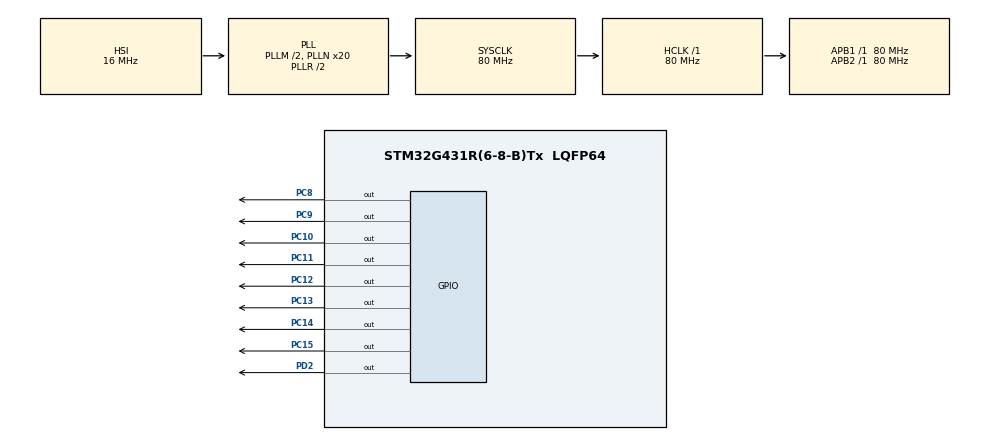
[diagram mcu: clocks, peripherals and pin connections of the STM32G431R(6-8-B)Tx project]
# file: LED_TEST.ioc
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Mcu.Family=STM32G4
Mcu.Name=STM32G431R(6-8-B)Tx
Mcu.Package=LQFP64
NVIC.PriorityGroup=NVIC_PRIORITYGROUP_4
PC10.Signal=GPIO_Output
PC11.Signal=GPIO_Output
PC12.Signal=GPIO_Output
PC13.Signal=GPIO_Output
PC14-OSC32_IN.Signal=GPIO_Output
PC15-OSC32_OUT.Signal=GPIO_Output
PC8.Signal=GPIO_Output
PC9.Signal=GPIO_Output
PD2.Signal=GPIO_Output
PF0-OSC_IN.Mode=HSE-External-Oscillator
PF0-OSC_IN.Signal=RCC_OSC_IN
PF1-OSC_OUT.Mode=HSE-External-Oscillator
PF1-OSC_OUT.Signal=RCC_OSC_OUT
ProjectManager.HeapSize=0x200
ProjectManager.StackSize=0x400
ProjectManager.TargetToolchain=MDK-ARM V5.27
RCC.ADC12Freq_Value=80000000
RCC.AHBFreq_Value=80000000
RCC.APB1Freq_Value=80000000
RCC.APB1TimFreq_Value=80000000
RCC.APB2Freq_Value=80000000
RCC.APB2TimFreq_Value=80000000
RCC.CortexFreq_Value=80000000
RCC.EXTERNAL_CLOCK_VALUE=12288000
RCC.HCLKFreq_Value=80000000
RCC.HSE_VALUE=24000000
RCC.HSI48_VALUE=48000000
RCC.HSI_VALUE=16000000
RCC.LSE_VALUE=32768
RCC.PLLM=RCC_PLLM_DIV2
RCC.PLLN=20
RCC.SYSCLKFreq_VALUE=80000000
RCC.SYSCLKSource=RCC_SYSCLKSOURCE_PLLCLK
RCC.USBFreq_Value=80000000
RCC.VCOOutputFreq_Value=160000000
VP_SYS_VS_DBSignals.Mode=DisableDeadBatterySignals
board=custom

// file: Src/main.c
/* USER CODE BEGIN Header */
/**
  ******************************************************************************
  * @file           : main.c
  * @brief          : Main program body
  ******************************************************************************
  * @attention
  *
  * <h2><center>&copy; Copyright (c) 2020 STMicroelectronics.
  * All rights reserved.</center></h2>
  *
  * This software component is licensed by ST under BSD 3-Clause license,
  * the "License"; You may not use this file except in compliance with the
  * License. You may obtain a copy of the License at:
  *                        opensource.org/licenses/BSD-3-Clause
  *
  ******************************************************************************
  */
/* USER CODE END Header */

#include "main.h"

void SystemClock_Config(void);
static void MX_GPIO_Init(void);

/* USER CODE BEGIN 0 */
#define DELAY_TIME	100

/*
*/
void LED_TEST(void)
{
	while(1){
		HAL_GPIO_TogglePin(GPIOC, GPIO_PIN_8);
		HAL_GPIO_WritePin(GPIOD, GPIO_PIN_2, GPIO_PIN_SET);
		HAL_GPIO_WritePin(GPIOD, GPIO_PIN_2, GPIO_PIN_RESET);
		HAL_Delay(DELAY_TIME);

		HAL_GPIO_TogglePin(GPIOC, GPIO_PIN_9);
		HAL_GPIO_WritePin(GPIOD, GPIO_PIN_2, GPIO_PIN_SET);
		HAL_GPIO_WritePin(GPIOD, GPIO_PIN_2, GPIO_PIN_RESET);
		HAL_Delay(DELAY_TIME);

		HAL_GPIO_TogglePin(GPIOC, GPIO_PIN_10);
		HAL_GPIO_WritePin(GPIOD, GPIO_PIN_2, GPIO_PIN_SET);
		HAL_GPIO_WritePin(GPIOD, GPIO_PIN_2, GPIO_PIN_RESET);
		HAL_Delay(DELAY_TIME);

		HAL_GPIO_TogglePin(GPIOC, GPIO_PIN_11);
		HAL_GPIO_WritePin(GPIOD, GPIO_PIN_2, GPIO_PIN_SET);
		HAL_GPIO_WritePin(GPIOD, GPIO_PIN_2, GPIO_PIN_RESET);
		HAL_Delay(DELAY_TIME);

		HAL_GPIO_TogglePin(GPIOC, GPIO_PIN_12);
		HAL_GPIO_WritePin(GPIOD, GPIO_PIN_2, GPIO_PIN_SET);
		HAL_GPIO_WritePin(GPIOD, GPIO_PIN_2, GPIO_PIN_RESET);
		HAL_Delay(DELAY_TIME);

		HAL_GPIO_TogglePin(GPIOC, GPIO_PIN_13);
		HAL_GPIO_WritePin(GPIOD, GPIO_PIN_2, GPIO_PIN_SET);
		HAL_GPIO_WritePin(GPIOD, GPIO_PIN_2, GPIO_PIN_RESET);
		HAL_Delay(DELAY_TIME);

		HAL_GPIO_TogglePin(GPIOC, GPIO_PIN_14);
		HAL_GPIO_WritePin(GPIOD, GPIO_PIN_2, GPIO_PIN_SET);
		HAL_GPIO_WritePin(GPIOD, GPIO_PIN_2, GPIO_PIN_RESET);
		HAL_Delay(DELAY_TIME);

		HAL_GPIO_TogglePin(GPIOC, GPIO_PIN_15);
		HAL_GPIO_WritePin(GPIOD, GPIO_PIN_2, GPIO_PIN_SET);
		HAL_GPIO_WritePin(GPIOD, GPIO_PIN_2, GPIO_PIN_RESET);
		HAL_Delay(DELAY_TIME);
	}
}

/* USER CODE END 0 */

int main(void)
{

  /* MCU Configuration--------------------------------------------------------*/

  /* Reset of all peripherals, Initializes the Flash interface and the Systick. */
  HAL_Init();

  /* Configure the system clock */
  SystemClock_Config();

  /* Initialize all configured peripherals */
  MX_GPIO_Init();

  /* Infinite loop */
  while (1)
  {
		LED_TEST();
  }
}

void SystemClock_Config(void)
{
  RCC_OscInitTypeDef RCC_OscInitStruct = {0};
  RCC_ClkInitTypeDef RCC_ClkInitStruct = {0};

  /** Configure the main internal regulator output voltage
  */
  HAL_PWREx_ControlVoltageScaling(PWR_REGULATOR_VOLTAGE_SCALE1);
  /** Initializes the CPU, AHB and APB busses clocks
  */
  RCC_OscInitStruct.OscillatorType = RCC_OSCILLATORTYPE_HSI;
  RCC_OscInitStruct.HSIState = RCC_HSI_ON;
  RCC_OscInitStruct.HSICalibrationValue = RCC_HSICALIBRATION_DEFAULT;
  RCC_OscInitStruct.PLL.PLLState = RCC_PLL_ON;
  RCC_OscInitStruct.PLL.PLLSource = RCC_PLLSOURCE_HSI;
  RCC_OscInitStruct.PLL.PLLM = RCC_PLLM_DIV2;
  RCC_OscInitStruct.PLL.PLLN = 20;
  RCC_OscInitStruct.PLL.PLLP = RCC_PLLP_DIV2;
  RCC_OscInitStruct.PLL.PLLQ = RCC_PLLQ_DIV2;
  RCC_OscInitStruct.PLL.PLLR = RCC_PLLR_DIV2;
  if (HAL_RCC_OscConfig(&RCC_OscInitStruct) != HAL_OK)
  {
    Error_Handler();
  }
  /** Initializes the CPU, AHB and APB busses clocks
  */
  RCC_ClkInitStruct.ClockType = RCC_CLOCKTYPE_HCLK|RCC_CLOCKTYPE_SYSCLK
                              |RCC_CLOCKTYPE_PCLK1|RCC_CLOCKTYPE_PCLK2;
  RCC_ClkInitStruct.SYSCLKSource = RCC_SYSCLKSOURCE_PLLCLK;
  RCC_ClkInitStruct.AHBCLKDivider = RCC_SYSCLK_DIV1;
  RCC_ClkInitStruct.APB1CLKDivider = RCC_HCLK_DIV1;
  RCC_ClkInitStruct.APB2CLKDivider = RCC_HCLK_DIV1;

  if (HAL_RCC_ClockConfig(&RCC_ClkInitStruct, FLASH_LATENCY_3) != HAL_OK)
  {
    Error_Handler();
  }
}

static void MX_GPIO_Init(void)
{
  GPIO_InitTypeDef GPIO_InitStruct = {0};

  /* GPIO Ports Clock Enable */
  __HAL_RCC_GPIOC_CLK_ENABLE();
  __HAL_RCC_GPIOF_CLK_ENABLE();
  __HAL_RCC_GPIOD_CLK_ENABLE();

  /*Configure GPIO pin Output Level */
  HAL_GPIO_WritePin(GPIOC, GPIO_PIN_13|GPIO_PIN_14|GPIO_PIN_15|GPIO_PIN_8
                          |GPIO_PIN_9|GPIO_PIN_10|GPIO_PIN_11|GPIO_PIN_12, GPIO_PIN_RESET);

  /*Configure GPIO pin Output Level */
  HAL_GPIO_WritePin(GPIOD, GPIO_PIN_2, GPIO_PIN_RESET);

  /*Configure GPIO pins : PC13 PC14 PC15 PC8
                           PC9 PC10 PC11 PC12 */
  GPIO_InitStruct.Pin = GPIO_PIN_13|GPIO_PIN_14|GPIO_PIN_15|GPIO_PIN_8
                          |GPIO_PIN_9|GPIO_PIN_10|GPIO_PIN_11|GPIO_PIN_12;
  GPIO_InitStruct.Mode = GPIO_MODE_OUTPUT_PP;
  GPIO_InitStruct.Pull = GPIO_NOPULL;
  GPIO_InitStruct.Speed = GPIO_SPEED_FREQ_LOW;
  HAL_GPIO_Init(GPIOC, &GPIO_InitStruct);

  /*Configure GPIO pin : PD2 */
  GPIO_InitStruct.Pin = GPIO_PIN_2;
  GPIO_InitStruct.Mode = GPIO_MODE_OUTPUT_PP;
  GPIO_InitStruct.Pull = GPIO_NOPULL;
  GPIO_InitStruct.Speed = GPIO_SPEED_FREQ_LOW;
  HAL_GPIO_Init(GPIOD, &GPIO_InitStruct);

}

void Error_Handler(void)
{
}

/************************ (C) COPYRIGHT STMicroelectronics *****END OF FILE****/
